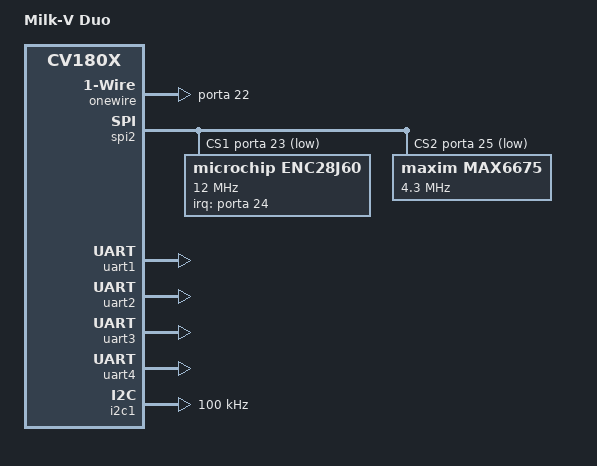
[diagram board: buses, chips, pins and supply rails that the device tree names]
/dts-v1/;
#include "cv180x_base_riscv.dtsi"
#include "cv180x_asic_qfn.dtsi"
#include "cv180x_asic_sd.dtsi"
#include "cv180x_default_memmap.dtsi"

&mipi_rx{
	snsr-reset = <&portc 8 GPIO_ACTIVE_LOW>, <&portc 8 GPIO_ACTIVE_LOW>, <&portc 8 GPIO_ACTIVE_LOW>;
};

&spi2 {
	status = "okay";
	cs-gpios = <0>,<&porta 23 GPIO_ACTIVE_LOW>,<&porta 25 GPIO_ACTIVE_LOW>;

	enc28j60: ethernet@1 {
		compatible = "microchip,enc28j60";
		reg = <1>;
		spi-max-frequency = <12000000>;
		irq-gpios = <&porta 24 GPIO_ACTIVE_HIGH>;
	};

	max6675: temp-sensor@2 {
		compatible = "maxim,max6675";
		reg = <2>;
		spi-max-frequency = <4300000>;
		spi-cpha;
	};
};

&uart1 {
	status = "okay";
};

&uart2 {
	status = "okay";
};

&uart3 {
	status = "okay";
};

&uart4 {
	status = "okay";
};

&i2c1 {
       status = "okay";
       clock-frequency = <100000>;
};

/ {
	model = "Milk-V Duo";

	onewire {
		compatible = "w1-gpio";
		gpios = <&porta 22 GPIO_ACTIVE_HIGH>;
	};
};

